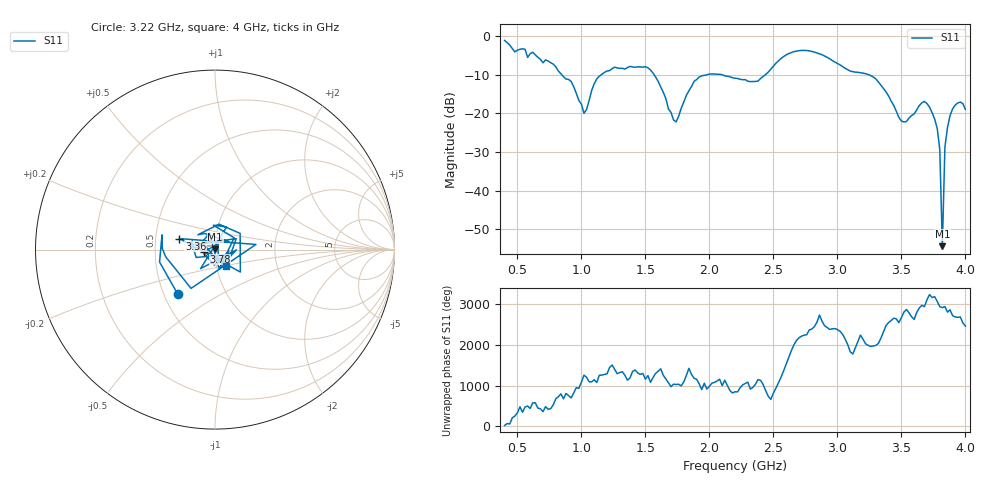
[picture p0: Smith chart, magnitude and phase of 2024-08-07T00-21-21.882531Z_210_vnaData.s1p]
!Created with skrf (http://scikit-rf.org).
# Hz S RI R 50.0
!freq ReS11 ImS11
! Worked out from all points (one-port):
!   181 points, 400 MHz to 4 GHz, reference 50 ohm
!   lowest |S11| = -54.4 dB at 3.82 GHz (marker M1), VSWR 1.00, Z = 50.1 + j0.121 ohm
!   |S11| at or under -10 dB: 1.567 GHz to 1.988 GHz (420.9 MHz wide, 23.7 % of centre); 2.089 GHz to 2.439 GHz (350 MHz wide, 15.5 % of centre); 3.241 GHz to end of sweep (the widest 3 of 4)
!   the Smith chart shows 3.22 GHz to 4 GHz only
!   S11 on the Smith chart (normalised r, x): 3.22 GHz: 0.59, -0.33; 3.36 GHz: 0.66, +0.09; 3.78 GHz: 0.88, -0.02; 4 GHz: 1.12, -0.21
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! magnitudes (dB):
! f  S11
! 400 MHz  -1.2
! 860 MHz  -10.5
! 920 MHz  -11.8
! 1.02 GHz  -20.0
! 1.12 GHz  -11.1
! 1.3 GHz  -8.4
! 1.52 GHz  -8.3
! 1.6 GHz  -11.8
! 1.72 GHz  -21.8
! 1.76 GHz  -20.8
! 1.92 GHz  -10.7
! 2.2 GHz  -11.0
! 2.38 GHz  -11.7
! 2.66 GHz  -4.1
! 2.86 GHz  -4.6
! 3.1 GHz  -9.1
! 3.22 GHz  -9.8
! 3.36 GHz  -13.7
! 3.5 GHz  -22.0
! 3.56 GHz  -21.3
! 3.68 GHz  -17.0
! 3.78 GHz  -23.9
! 3.8 GHz  -29.4
! 3.82 GHz  -54.4
! 3.84 GHz  -28.7
! 3.86 GHz  -23.7
! 3.92 GHz  -17.9
! 4 GHz  -19.0
